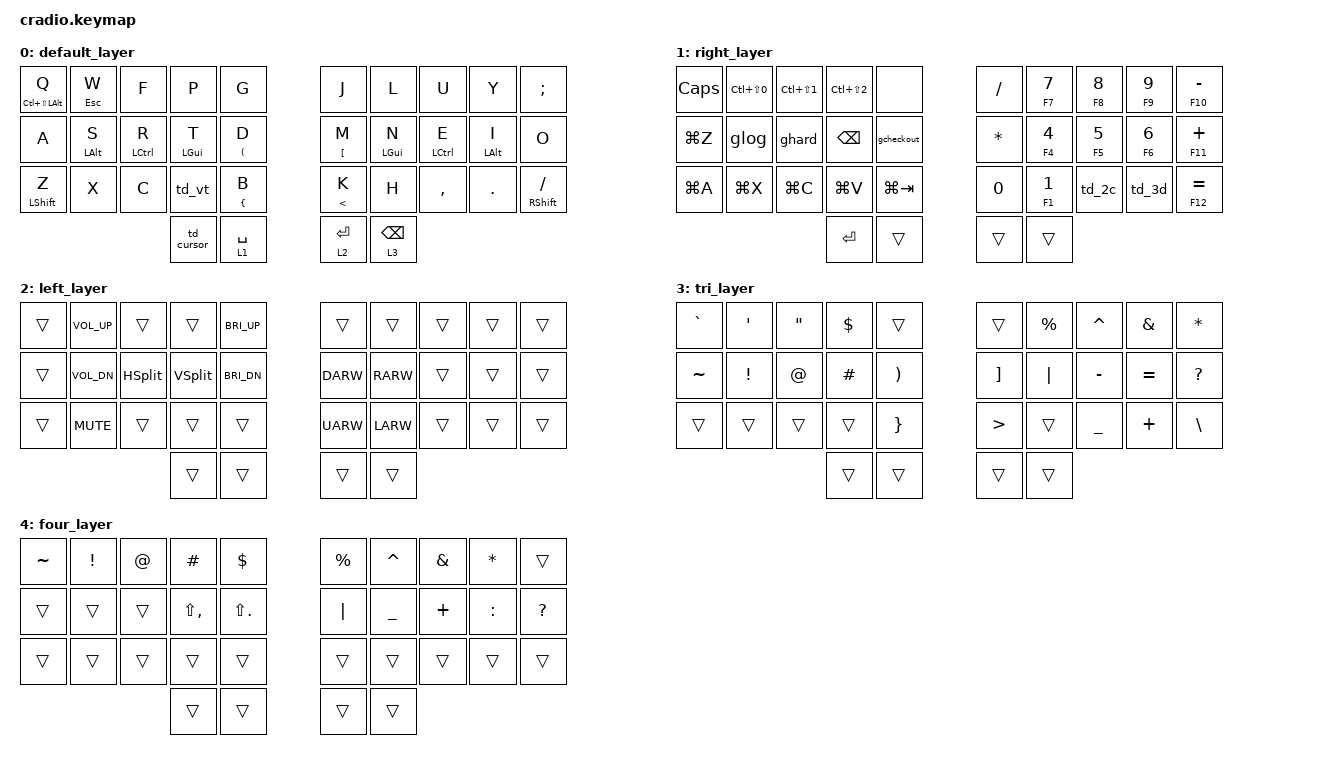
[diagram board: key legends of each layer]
// Copyright (c) 2022 The ZMK Contributors
// SPDX-License-Identifier: MIT

#include <behaviors.dtsi>
#include <dt-bindings/zmk/keys.h>
#include <dt-bindings/zmk/bt.h>
#include <dt-bindings/zmk/mouse.h>
#include "macros.dtsi"

/ {
    behaviors {
        hm: homerow_mod {
            compatible = "zmk,behavior-hold-tap";
            #binding-cells = <2>;
            flavor = "tap-preferred";
            tapping-term-ms = <175>; // triggers the hold behavior when the tapping-term-ms has expired
            quick-tap-ms = <160>; // If you press a tapped hold-tap again within quick-tap-ms milliseconds of the first press, it will always trigger the tap behavior.
            require-prior-idle-ms = <185>; // like quick-tap-ms however it will apply for any non-modifier key pressed before it
            bindings = <&kp>, <&kp>;  // hold, tap
        };

        hmsh: homerow_mod_short {
            compatible = "zmk,behavior-hold-tap";
            #binding-cells = <2>;
            flavor = "tap-preferred";
            tapping-term-ms = <135>; // triggers the hold behavior when the tapping-term-ms has expired
            quick-tap-ms = <120>; // If you press a tapped hold-tap again within quick-tap-ms milliseconds of the first press, it will always trigger the tap behavior.
            require-prior-idle-ms = <145>; // like quick-tap-ms however it will apply for any non-modifier key pressed before it
            bindings = <&kp>, <&kp>;  // hold, tap
        };

        hm_s: homerow_mod_special {
            compatible = "zmk,behavior-hold-tap";
            #binding-cells = <2>;
            flavor = "balanced";
            tapping-term-ms = <210>; // triggers the hold behavior when the tapping-term-ms has expired
            quick-tap-ms = <180>; // If you press a tapped hold-tap again within quick-tap-ms milliseconds of the first press, it will always trigger the tap behavior.
            require-prior-idle-ms = <220>; // like quick-tap-ms however it will apply for any non-modifier key pressed before it
            bindings = <&kp>, <&kp>;
            hold-trigger-key-positions = <0 1 2 3 4 5 6 7 8 9 11 12 13 14 15 16 17 18 19 20 21 22 23 24 25 26 27 28 29 30 31 32 33 34>;
        };
    
        td_rp: td_right_paren {
            compatible = "zmk,behavior-tap-dance";
            #binding-cells = <0>;
            bindings = <&kp D>, <&kp RIGHT_PARENTHESIS>;
        };

        
        td_vt: td_v_tab {
            compatible = "zmk,behavior-tap-dance";
            #binding-cells = <0>;
            bindings = <&kp V>, <&kp TAB>;
        };

        td_rbc: td_right_brace {
            compatible = "zmk,behavior-tap-dance";
            #binding-cells = <0>;
            bindings = <&kp B>, <&kp RIGHT_BRACE>;
        };

        td_rbck: td_right_bracket {
            compatible = "zmk,behavior-tap-dance";
            #binding-cells = <0>;
            bindings = <&kp M>, <&kp RIGHT_BRACKET>;
        };

                      
        td_rgt: td_right_greater_than {
            compatible = "zmk,behavior-tap-dance";
            #binding-cells = <0>;
            bindings = <&kp K>, <&kp GREATER_THAN>;
        };

        td_cursor: td_scroll_or_cursor {
            compatible = "zmk,behavior-tap-dance";
            #binding-cells = <0>;
            bindings = <&kp TAB>, <&mkp RCLK>; // hold, tap, double_tap
        };
        
        td_2c: td_2_coma {
            compatible = "zmk,behavior-tap-dance";
            #binding-cells = <0>;
            tapping-term-ms = <195>;
            bindings = <&hm F2 N2>, <&kp COMMA>;
        };
        
        td_3d: td_3_dot {
            compatible = "zmk,behavior-tap-dance";
            #binding-cells = <0>;
            tapping-term-ms = <195>;
            bindings = <&hm F3 N3>, <&kp DOT>;
        };

    };

    keymap {
        compatible = "zmk,keymap";
        default_layer {
            bindings = <
// 0
        //╭──────────┬──────────┬──────────┬──────────┬──────────╮   ╭──────────┬──────────┬──────────┬──────────┬──────────╮
        //│ Q        │  W ESC   │  F       │  P       │  G       │   │  J       │  L       │  U       │  Y       │  ;:      │
    &mt LC(LS(LALT)) Q &hm ESC W  &kp F      &kp P     &kp G           &kp J      &kp L      &kp U      &kp Y      &kp SEMI
        //├──────────┼──────────┼──────────┼──────────┼──────────┤   ├──────────┼──────────┼──────────┼──────────┼──────────┤
        //│  A       │  S       │  R       │  T       │  D       │   │  M       │  N       │  E       │  I       │ O        │
            &kp A     &hm LALT S &hm LCTRL R &hm_s LGUI T &hm LPAR D   &hm LBKT M  &hm LGUI N &hm LCTRL E &hm LALT I &kp O 
        //├──────────┼──────────┼──────────┼──────────┼──────────┤   ├──────────┼──────────┼──────────┼──────────┼──────────┤
        //│  Z       │  X       │  C       │  V       │  B       │   │  K       │  H       │ , <      │ . >      │ / ?      │
          &hmsh LSHFT Z  &kp X      &kp C      &td_vt    &hm LBRC B     &hm LT K    &kp H    &kp COMMA   &kp DOT    &hmsh RSHFT FSLH 
        //╰──────────┴──────────┴──────────┼──────────┼──────────┤   ├──────────┼──────────┼──────────┴──────────┴──────────╯
                                            &td_cursor &lt 1 SPACE    &lt 2 ENTER &lt 3 BSPC 
        //                                 ╰──────────┴──────────╯   ╰──────────┴──────────╯
            >;
        };

        right_layer {
            bindings = <
// 1
        //╭──────────┬──────────────┬──────────────┬───────────────┬──────────╮   ╭──────────┬──────────┬──────────┬──────────┬──────────╮
        //│   CAPS   │              │              │               │          │   │          │  7       │  8       │  9       │          │
           &kp CAPS  &kp LC(LS(N0)) &kp LC(LS(N1)) &kp LC(LS(N2))     &none       &kp SLASH  &hm F7 N7  &hm F8 N8  &hm F9 N9  &hm F10 MINUS
        //├──────────┼──────────────┼──────────────┼───────────────┼──────────┤   ├──────────┼──────────┼──────────┼──────────┼──────────┤
        //│          │              │              │               │          │   │          │  4       │  5       │  6       │          │
          &kp LG(Z)    &glog          &ghard         &kp BACKSPACE   &gcheckout    &kp ASTRK  &hm F4 N4  &hm F5 N5  &hm F6 N6  &hm F11 PLUS
        //├──────────┼──────────────┼──────────────┼───────────────┼──────────┤   ├──────────┼──────────┼──────────┼──────────┼──────────┤
        //│          │              │              │               │          │   │  0       │  1       │  2       │  3       │          │
           &kp LG(A)   &kp LG(X)      &kp LG(C)        &kp LG(V)    &kp LG(TAB)      &kp N0     &hm F1 N1  &td_2c     &td_3d     &hm F12 EQUAL 
        //╰──────────┴──────────────┴──────────────┼───────────────┼──────────┤   ├──────────┼──────────┼──────────┴──────────┴──────────╯
                                                          &kp RETURN      &trans        &trans     &trans
        //                                               ╰──────────┴──────────╯   ╰──────────┴──────────╯
            >;

        };

        left_layer {
            bindings = <
// 2
        //╭──────────┬──────────┬──────────┬──────────┬──────────╮   ╭──────────┬──────────┬──────────┬──────────┬──────────╮
        //│          │          │          │          │          │   │          │          │          │          │          │
           &trans  &kp C_VOL_UP   &trans    &trans   &kp C_BRI_UP        &trans     &trans     &trans     &trans    &trans
        //├──────────┼──────────┼──────────┼──────────┼──────────┤   ├──────────┼──────────┼──────────┼──────────┼──────────┤
        //│          │          │          │          │          │   │  DOWN    │ RARW     │          │          │          │
           &trans  &kp C_VOL_DN   &HSplit   &VSplit  &kp C_BRI_DN    &kp DARW   &kp RARW    &trans     &trans     &trans
        //├──────────┼──────────┼──────────┼──────────┼──────────┤   ├──────────┼──────────┼──────────┼──────────┼──────────┤
        //│          │          │          │          │          │   │  UP      │ LARW     │          │          │          │
            &trans   &kp C_MUTE   &trans      &trans     &trans       &kp UARW   &kp LARW     &trans     &trans     &trans
        //╰──────────┴──────────┴──────────┼──────────┼──────────┤   ├──────────┼──────────┼──────────┴──────────┴──────────╯
                                             &trans     &trans         &trans     &trans
        //                                 ╰──────────┴──────────╯   ╰──────────┴──────────╯
            >;
        };

        tri_layer {
            bindings = <
// 3
        //╭──────────┬──────────┬──────────┬──────────┬──────────╮   ╭──────────┬──────────┬──────────┬──────────┬──────────╮
        //│  `       │    '     │    "     │    $     │          │   │          │    %     │    ^     │    &     │    *     │
           &kp GRAVE   &kp APOS  &kp DQT     &kp DLLR    &trans        &trans     &kp PRCNT  &kp CARET   &kp AMPS  &kp ASTRK  
        //├──────────┼──────────┼──────────┼──────────┼──────────┤   ├──────────┼──────────┼──────────┼──────────┼──────────┤
        //│   ~      │   !      │  @       │    #     │    (     │   │    [     │     │    │    -     │    =     │     ?    │
           &kp TILDE   &kp EXCL   &kp AT     &kp HASH   &kp RPAR      &kp RBKT    &kp PIPE   &kp MINUS &kp EQUAL  &kp QMARK    
        //├──────────┼──────────┼──────────┼──────────┼──────────┤   ├──────────┼──────────┼──────────┼──────────┼──────────┤
        //│          │          │          │          │   {      │   │    <     │          │    _     │    +     │    \     │
            &trans     &trans     &trans     &trans     &kp RBRC      &kp GT  &trans    &kp UNDER   &kp PLUS  &kp BSLH  
        //╰──────────┴──────────┴──────────┼──────────┼──────────┤   ├──────────┼──────────┼──────────┴──────────┴──────────╯
                                             &trans     &trans         &trans     &trans
        //                                 ╰──────────┴──────────╯   ╰──────────┴──────────╯
            >;
        };


        four_layer {
            bindings = <
// 4
        //╭──────────┬──────────┬──────────┬──────────┬──────────╮   ╭──────────┬──────────┬──────────┬──────────┬──────────╮
        //│   ~      │   !      │  @       │  #       │  $       │   │  %       │  ^       │  &       │  *       │          │
           &kp TILDE   &kp EXCL   &kp AT     &kp HASH   &kp DLLR      &kp PRCNT  &kp CARET   &kp AMPS  &kp ASTRK     &trans
        //├──────────┼──────────┼──────────┼──────────┼──────────┤   ├──────────┼──────────┼──────────┼──────────┼──────────┤
        //│          │          │          │          │          │   │  │       │  _       │  +       │  :       │  ?       │
            &trans     &trans     &trans  &kp LS(COMMA) &kp LS(DOT)  &kp PIPE    &kp UNDER  &kp PLUS  &kp COLON  &kp QMARK
        //├──────────┼──────────┼──────────┼──────────┼──────────┤   ├──────────┼──────────┼──────────┼──────────┼──────────┤
        //│          │          │          │          │          │   │          │          │          │          │          │
            &trans     &trans     &trans     &trans    &trans         &trans     &trans     &trans     &trans     &trans
        //╰──────────┴──────────┴──────────┼──────────┼──────────┤   ├──────────┼──────────┼──────────┴──────────┴──────────╯
                                             &trans     &trans         &trans     &trans
        //                                 ╰──────────┴──────────╯   ╰──────────┴──────────╯
            >;
        };
    };
};
